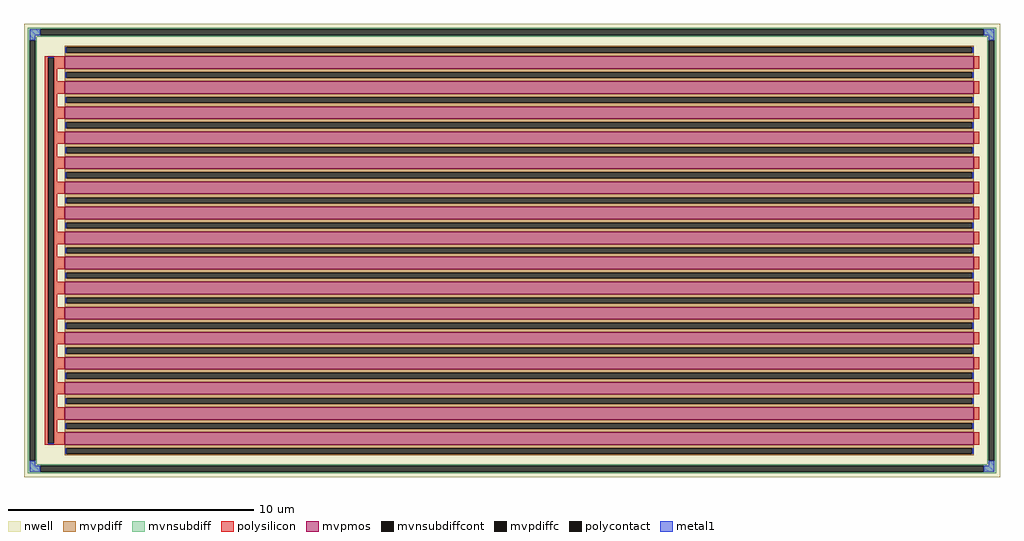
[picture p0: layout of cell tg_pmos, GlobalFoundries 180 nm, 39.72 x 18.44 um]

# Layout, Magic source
magic
tech gf180mcuD
magscale 1 10
<< nwell >>
rect -32 -32 7912 3656
<< mvpmos >>
rect 300 3292 7700 3392
rect 300 3088 7700 3188
rect 300 2884 7700 2984
rect 300 2680 7700 2780
rect 300 2476 7700 2576
rect 300 2272 7700 2372
rect 300 2068 7700 2168
rect 300 1864 7700 1964
rect 300 1660 7700 1760
rect 300 1456 7700 1556
rect 300 1252 7700 1352
rect 300 1048 7700 1148
rect 300 844 7700 944
rect 300 640 7700 740
rect 300 436 7700 536
rect 300 232 7700 332
<< mvpdiff >>
rect 300 3467 7700 3480
rect 300 3421 313 3467
rect 7687 3421 7700 3467
rect 300 3392 7700 3421
rect 300 3263 7700 3292
rect 300 3217 313 3263
rect 7687 3217 7700 3263
rect 300 3188 7700 3217
rect 300 3059 7700 3088
rect 300 3013 313 3059
rect 7687 3013 7700 3059
rect 300 2984 7700 3013
rect 300 2855 7700 2884
rect 300 2809 313 2855
rect 7687 2809 7700 2855
rect 300 2780 7700 2809
rect 300 2651 7700 2680
rect 300 2605 313 2651
rect 7687 2605 7700 2651
rect 300 2576 7700 2605
rect 300 2447 7700 2476
rect 300 2401 313 2447
rect 7687 2401 7700 2447
rect 300 2372 7700 2401
rect 300 2243 7700 2272
rect 300 2197 313 2243
rect 7687 2197 7700 2243
rect 300 2168 7700 2197
rect 300 2039 7700 2068
rect 300 1993 313 2039
rect 7687 1993 7700 2039
rect 300 1964 7700 1993
rect 300 1835 7700 1864
rect 300 1789 313 1835
rect 7687 1789 7700 1835
rect 300 1760 7700 1789
rect 300 1631 7700 1660
rect 300 1585 313 1631
rect 7687 1585 7700 1631
rect 300 1556 7700 1585
rect 300 1427 7700 1456
rect 300 1381 313 1427
rect 7687 1381 7700 1427
rect 300 1352 7700 1381
rect 300 1223 7700 1252
rect 300 1177 313 1223
rect 7687 1177 7700 1223
rect 300 1148 7700 1177
rect 300 1019 7700 1048
rect 300 973 313 1019
rect 7687 973 7700 1019
rect 300 944 7700 973
rect 300 815 7700 844
rect 300 769 313 815
rect 7687 769 7700 815
rect 300 740 7700 769
rect 300 611 7700 640
rect 300 565 313 611
rect 7687 565 7700 611
rect 300 536 7700 565
rect 300 407 7700 436
rect 300 361 313 407
rect 7687 361 7700 407
rect 300 332 7700 361
rect 300 203 7700 232
rect 300 157 313 203
rect 7687 157 7700 203
rect 300 144 7700 157
<< mvpdiffc >>
rect 313 3421 7687 3467
rect 313 3217 7687 3263
rect 313 3013 7687 3059
rect 313 2809 7687 2855
rect 313 2605 7687 2651
rect 313 2401 7687 2447
rect 313 2197 7687 2243
rect 313 1993 7687 2039
rect 313 1789 7687 1835
rect 313 1585 7687 1631
rect 313 1381 7687 1427
rect 313 1177 7687 1223
rect 313 973 7687 1019
rect 313 769 7687 815
rect 313 565 7687 611
rect 313 361 7687 407
rect 313 157 7687 203
<< mvnsubdiff >>
rect 0 3611 7880 3624
rect 0 3565 102 3611
rect 7778 3565 7880 3611
rect 0 3552 7880 3565
rect 0 3522 72 3552
rect 0 102 13 3522
rect 59 102 72 3522
rect 7808 3522 7880 3552
rect 0 72 72 102
rect 7808 102 7821 3522
rect 7867 102 7880 3522
rect 7808 72 7880 102
rect 0 59 7880 72
rect 0 13 102 59
rect 7778 13 7880 59
rect 0 0 7880 13
<< mvnsubdiffcont >>
rect 102 3565 7778 3611
rect 13 102 59 3522
rect 7821 102 7867 3522
rect 102 13 7778 59
<< polysilicon >>
rect 138 3379 300 3392
rect 138 245 165 3379
rect 211 3292 300 3379
rect 7700 3292 7744 3392
rect 211 3188 238 3292
rect 211 3088 300 3188
rect 7700 3088 7744 3188
rect 211 2984 238 3088
rect 211 2884 300 2984
rect 7700 2884 7744 2984
rect 211 2780 238 2884
rect 211 2680 300 2780
rect 7700 2680 7744 2780
rect 211 2576 238 2680
rect 211 2476 300 2576
rect 7700 2476 7744 2576
rect 211 2372 238 2476
rect 211 2272 300 2372
rect 7700 2272 7744 2372
rect 211 2168 238 2272
rect 211 2068 300 2168
rect 7700 2068 7744 2168
rect 211 1964 238 2068
rect 211 1864 300 1964
rect 7700 1864 7744 1964
rect 211 1760 238 1864
rect 211 1660 300 1760
rect 7700 1660 7744 1760
rect 211 1556 238 1660
rect 211 1456 300 1556
rect 7700 1456 7744 1556
rect 211 1352 238 1456
rect 211 1252 300 1352
rect 7700 1252 7744 1352
rect 211 1148 238 1252
rect 211 1048 300 1148
rect 7700 1048 7744 1148
rect 211 944 238 1048
rect 211 844 300 944
rect 7700 844 7744 944
rect 211 740 238 844
rect 211 640 300 740
rect 7700 640 7744 740
rect 211 536 238 640
rect 211 436 300 536
rect 7700 436 7744 536
rect 211 332 238 436
rect 211 245 300 332
rect 138 232 300 245
rect 7700 232 7744 332
<< polycontact >>
rect 165 245 211 3379
<< metal1 >>
rect 13 3565 102 3611
rect 7778 3565 7867 3611
rect 13 3522 59 3565
rect 7821 3522 7867 3565
rect 302 3421 313 3467
rect 7687 3421 7698 3467
rect 165 3379 211 3390
rect 302 3217 313 3263
rect 7687 3217 7698 3263
rect 302 3013 313 3059
rect 7687 3013 7698 3059
rect 302 2809 313 2855
rect 7687 2809 7698 2855
rect 302 2605 313 2651
rect 7687 2605 7698 2651
rect 302 2401 313 2447
rect 7687 2401 7698 2447
rect 302 2197 313 2243
rect 7687 2197 7698 2243
rect 302 1993 313 2039
rect 7687 1993 7698 2039
rect 302 1789 313 1835
rect 7687 1789 7698 1835
rect 302 1585 313 1631
rect 7687 1585 7698 1631
rect 302 1381 313 1427
rect 7687 1381 7698 1427
rect 302 1177 313 1223
rect 7687 1177 7698 1223
rect 302 973 313 1019
rect 7687 973 7698 1019
rect 302 769 313 815
rect 7687 769 7698 815
rect 302 565 313 611
rect 7687 565 7698 611
rect 302 361 313 407
rect 7687 361 7698 407
rect 165 234 211 245
rect 302 157 313 203
rect 7687 157 7698 203
rect 13 59 59 102
rect 7821 59 7867 102
rect 13 13 102 59
rect 7778 13 7867 59
<< properties >>
string FIXED_BBOX 0 0 7880 3624
<< end >>
